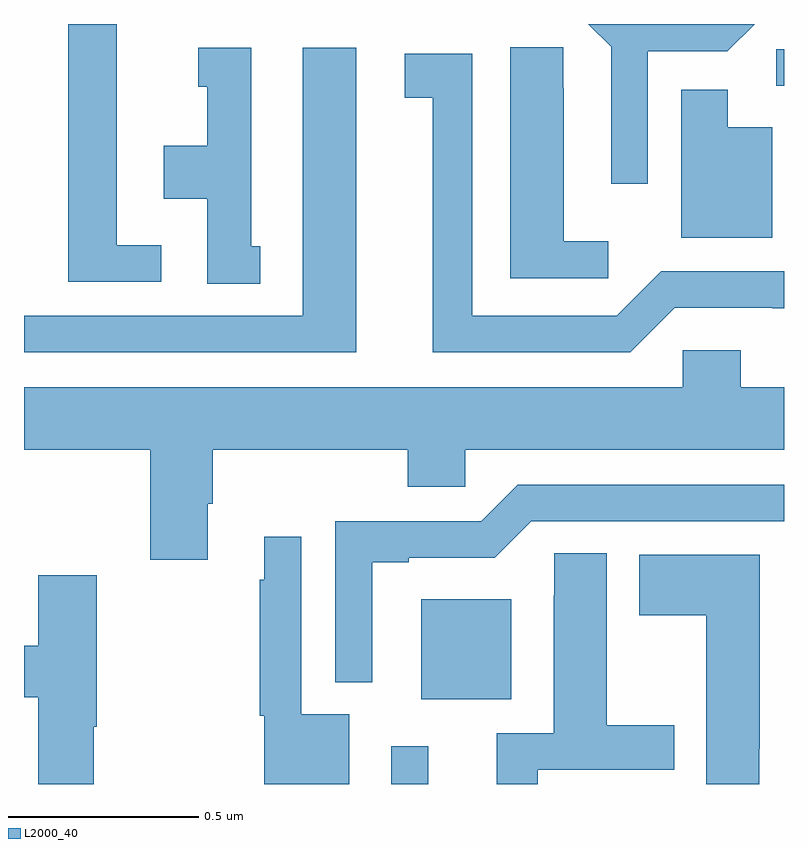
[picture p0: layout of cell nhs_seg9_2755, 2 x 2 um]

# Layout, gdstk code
import gdstk
lib = gdstk.Library(unit=1e-6, precision=1e-09)
def R(c, l, rs):  # rectangles x0, y0, x1, y1
    for r in rs: c.add(gdstk.rectangle(r[:2], r[2:], *l))
def P(c, l, *ps):  # polygons
    for p in ps: c.add(gdstk.Polygon(p, *l))
L2000_40 = (2000, 40)

nhs_seg9_2755 = lib.new_cell('nhs_seg9_2755')
R(nhs_seg9_2755, L2000_40, [(144.966,1235.5,145.064,1235.599), (145.046,1235.723,145.282,1235.986), (145.98,1237.338,146,1237.434)])
P(nhs_seg9_2755, L2000_40, [(145.641,1237.428),(145.851,1237.428),(145.923,1237.5),(145.485,1237.5),(145.545,1237.44),(145.545,1237.08),(145.641,1237.08)],
  [(144.361,1236.918),(144.244,1236.918),(144.244,1237.5),(144.116,1237.5),(144.116,1236.822),(144.361,1236.822)],
  [(145.537,1236.928),(145.42,1236.928),(145.42,1237.331),(145.419,1237.331),(145.419,1237.439),(145.28,1237.439),(145.28,1236.831),(145.537,1236.831)],
  [(144.874,1237.438),(144.734,1237.438),(144.734,1236.732),(144,1236.732),(144,1236.636),(144.874,1236.636)],
  [(144.622,1236.915),(144.598,1236.915),(144.598,1237.438),(144.458,1237.438),(144.458,1237.335),(144.482,1237.335),(144.482,1237.18),(144.368,1237.18),(144.368,1237.04),(144.482,1237.04),(144.482,1236.817),(144.622,1236.817)],
  [(145.713,1236.753),(145.969,1236.753),(145.969,1236.752),(146,1236.752),(146,1236.849),(145.677,1236.849),(145.56,1236.732),(145.18,1236.732),(145.18,1237.422),(145.002,1237.422),(145.002,1237.306),(145.076,1237.306),(145.076,1236.636),(145.596,1236.636)],
  [(145.969,1237.228),(145.852,1237.228),(145.852,1237.327),(145.73,1237.327),(145.73,1236.938),(145.969,1236.938)],
  [(144,1236.38),(144.332,1236.38),(144.332,1236.09),(144.484,1236.09),(144.484,1236.238),(144.497,1236.238),(144.497,1236.38),(145.01,1236.38),(145.01,1236.282),(145.161,1236.282),(145.161,1236.38),(146,1236.38),(146,1236.544),(145.886,1236.544),(145.886,1236.642),(145.734,1236.642),(145.734,1236.544),(144,1236.544)],
  [(144.916,1236.084),(145.012,1236.084),(145.012,1236.096),(145.239,1236.096),(145.335,1236.192),(146,1236.192),(146,1236.288),(145.299,1236.288),(145.203,1236.192),(144.819,1236.192),(144.819,1235.768),(144.916,1235.768)],
  [(144.856,1235.683),(144.729,1235.683),(144.729,1236.151),(144.632,1236.151),(144.632,1236.038),(144.621,1236.038),(144.621,1235.679),(144.632,1235.679),(144.632,1235.5),(144.856,1235.5)],
  [(145.352,1235.538),(145.711,1235.538),(145.711,1235.655),(145.534,1235.655),(145.534,1236.107),(145.395,1236.107),(145.395,1235.996),(145.394,1235.996),(145.394,1235.634),(145.244,1235.634),(145.244,1235.5),(145.352,1235.5)],
  [(145.935,1235.593),(145.936,1235.593),(145.936,1236.103),(145.619,1236.103),(145.619,1235.944),(145.796,1235.944),(145.796,1235.5),(145.935,1235.5)],
  [(144.184,1235.651),(144.192,1235.651),(144.192,1236.049),(144.038,1236.049),(144.038,1235.864),(144,1235.864),(144,1235.728),(144.038,1235.728),(144.038,1235.5),(144.184,1235.5)])

lib.write_gds('nhs_seg9_2755.gds')
